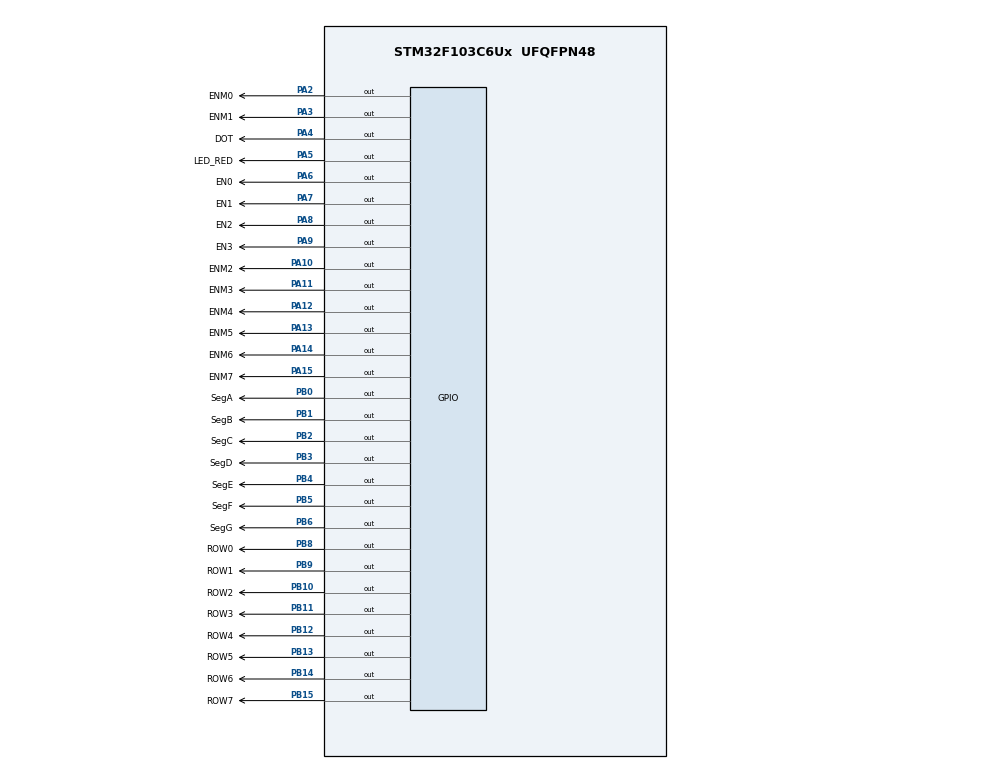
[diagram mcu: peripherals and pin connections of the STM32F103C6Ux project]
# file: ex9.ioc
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Mcu.Family=STM32F1
Mcu.Name=STM32F103C6Ux
Mcu.Package=UFQFPN48
NVIC.PriorityGroup=NVIC_PRIORITYGROUP_4
NVIC.TIM2_IRQn=true\:0\:0\:false\:false\:true\:true\:true
PA10.GPIO_Label=ENM2
PA10.Signal=GPIO_Output
PA11.GPIO_Label=ENM3
PA11.Signal=GPIO_Output
PA12.GPIO_Label=ENM4
PA12.Signal=GPIO_Output
PA13.GPIO_Label=ENM5
PA13.Signal=GPIO_Output
PA14.GPIO_Label=ENM6
PA14.Signal=GPIO_Output
PA15.GPIO_Label=ENM7
PA15.Signal=GPIO_Output
PA2.GPIO_Label=ENM0
PA2.Signal=GPIO_Output
PA3.GPIO_Label=ENM1
PA3.Signal=GPIO_Output
PA4.GPIO_Label=DOT
PA4.Signal=GPIO_Output
PA5.GPIO_Label=LED_RED
PA5.Signal=GPIO_Output
PA6.GPIO_Label=EN0
PA6.Signal=GPIO_Output
PA7.GPIO_Label=EN1
PA7.Signal=GPIO_Output
PA8.GPIO_Label=EN2
PA8.Signal=GPIO_Output
PA9.GPIO_Label=EN3
PA9.Signal=GPIO_Output
PB0.GPIO_Label=SegA
PB0.Signal=GPIO_Output
PB1.GPIO_Label=SegB
PB1.Signal=GPIO_Output
PB10.GPIO_Label=ROW2
PB10.Signal=GPIO_Output
PB11.GPIO_Label=ROW3
PB11.Signal=GPIO_Output
PB12.GPIO_Label=ROW4
PB12.Signal=GPIO_Output
PB13.GPIO_Label=ROW5
PB13.Signal=GPIO_Output
PB14.GPIO_Label=ROW6
PB14.Signal=GPIO_Output
PB15.GPIO_Label=ROW7
PB15.Signal=GPIO_Output
PB2.GPIO_Label=SegC
PB2.Signal=GPIO_Output
PB3.GPIO_Label=SegD
PB3.Signal=GPIO_Output
PB4.GPIO_Label=SegE
PB4.Signal=GPIO_Output
PB5.GPIO_Label=SegF
PB5.Signal=GPIO_Output
PB6.GPIO_Label=SegG
PB6.Signal=GPIO_Output
PB8.GPIO_Label=ROW0
PB8.Signal=GPIO_Output
PB9.GPIO_Label=ROW1
PB9.Signal=GPIO_Output
ProjectManager.HeapSize=0x200
ProjectManager.StackSize=0x400
ProjectManager.TargetToolchain=STM32CubeIDE
RCC.APB1Freq_Value=8000000
RCC.APB2Freq_Value=8000000
TIM2.Period=9
TIM2.Prescaler=7999
VP_SYS_VS_ND.Mode=No_Debug
VP_TIM2_VS_ClockSourceINT.Mode=Internal
board=custom

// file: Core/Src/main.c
/* USER CODE BEGIN Header */
/**
  ******************************************************************************
  * @file           : main.c
  * @brief          : Main program body
  ******************************************************************************
  * @attention
  *
  * <h2><center>&copy; Copyright (c) 2023 STMicroelectronics.
  * All rights reserved.</center></h2>
  *
  * This software component is licensed by ST under BSD 3-Clause license,
  * the "License"; You may not use this file except in compliance with the
  * License. You may obtain a copy of the License at:
  *                        opensource.org/licenses/BSD-3-Clause
  *
  ******************************************************************************
  */
/* USER CODE END Header */
#include "main.h"

/* USER CODE BEGIN Includes */
#include "sofware_timer.h"
#include "myLib.h"
/* USER CODE END Includes */

TIM_HandleTypeDef htim2;

void SystemClock_Config(void);
static void MX_GPIO_Init(void);
static void MX_TIM2_Init(void);

int main(void)
{

  /* MCU Configuration--------------------------------------------------------*/

  /* Reset of all peripherals, Initializes the Flash interface and the Systick. */
  HAL_Init();

  /* Configure the system clock */
  SystemClock_Config();

  /* Initialize all configured peripherals */
  MX_GPIO_Init();
  MX_TIM2_Init();
  /* USER CODE BEGIN 2 */
  void clear() {
	  HAL_GPIO_WritePin(GPIOB, ROW0_Pin, SET);
	  HAL_GPIO_WritePin(GPIOB, ROW1_Pin, SET);
	  HAL_GPIO_WritePin(GPIOB, ROW2_Pin, SET);
	  HAL_GPIO_WritePin(GPIOB, ROW3_Pin, SET);
	  HAL_GPIO_WritePin(GPIOB, ROW4_Pin, SET);
	  HAL_GPIO_WritePin(GPIOB, ROW5_Pin, SET);
	  HAL_GPIO_WritePin(GPIOB, ROW6_Pin, SET);
	  HAL_GPIO_WritePin(GPIOB, ROW7_Pin, SET);

	  HAL_GPIO_WritePin(GPIOA, ENM0_Pin, SET);
	  HAL_GPIO_WritePin(GPIOA, ENM1_Pin, SET);
	  HAL_GPIO_WritePin(GPIOA, ENM2_Pin, SET);
	  HAL_GPIO_WritePin(GPIOA, ENM3_Pin, SET);
	  HAL_GPIO_WritePin(GPIOA, ENM4_Pin, SET);
	  HAL_GPIO_WritePin(GPIOA, ENM5_Pin, SET);
	  HAL_GPIO_WritePin(GPIOA, ENM6_Pin, SET);
	  HAL_GPIO_WritePin(GPIOA, ENM7_Pin, SET);
  }
  HAL_TIM_Base_Start_IT(&htim2);
  void enState(uint8_t enIndex) {
  	HAL_GPIO_WritePin(GPIOA, GPIO_PIN_(6), SET);
  	HAL_GPIO_WritePin(GPIOA, GPIO_PIN_(7), SET);
  	HAL_GPIO_WritePin(GPIOA, GPIO_PIN_(8), SET);
  	HAL_GPIO_WritePin(GPIOA, GPIO_PIN_(9), SET);
  	HAL_GPIO_WritePin(GPIOA, GPIO_PIN_(enIndex + 6), RESET);
  }
  const uint8_t MAX_LED = 4;
  uint8_t index_led = 0;
  uint8_t led_buffer[4] = {1, 2, 3, 4};

  const int MAX_LED_MATRIX = 8;
  uint8_t index_led_matrix = 0;
  uint8_t matrix_buffer[8] = {0x18, 0x24, 0x42, 0x42, 0x7E, 0x42, 0x42, 0x42};

  void update7SEG(int index){
	  enState(index);
      display7SEG1(led_buffer[index]);
  }

  uint8_t hour = 15 , minute = 8 , second = 50;
//  #define SCANROW_(i)_(num)
  void updateClockBuffer() {
	  led_buffer[0] = hour / 10;
	  led_buffer[1] = hour % 10;
	  led_buffer[2] = minute / 10;
	  led_buffer[3] = minute % 10;
}
  void scanRow() {
	  for (int i = 0; i < MAX_LED_MATRIX; i++) {
		  if ((matrix_buffer[i] >> (7 - index_led_matrix + 1)) & 1)
			  HAL_GPIO_WritePin(GPIOB, GPIO_PIN_(i + 8), RESET);
//		  if ((matrix_buffer[i] >> 6) & 1)
//			  HAL_GPIO_WritePin(GPIOB, ROW1_Pin, RESET);
//		  if ((matrix_buffer[i] >> 5) & 1)
//			  HAL_GPIO_WritePin(GPIOB, ROW2_Pin, RESET);
//		  if ((matrix_buffer[i] >> 4) & 1)
//			  HAL_GPIO_WritePin(GPIOB, ROW3_Pin, RESET);
//		  if ((matrix_buffer[i] >> 3) & 1)
//			  HAL_GPIO_WritePin(GPIOB, ROW4_Pin, RESET);
//		  if ((matrix_buffer[i] >> 2) & 1)
//			  HAL_GPIO_WritePin(GPIOB, ROW5_Pin, RESET);
//		  if ((matrix_buffer[i] >> 1) & 1)
//			  HAL_GPIO_WritePin(GPIOB, ROW6_Pin, RESET);
//		  if ((matrix_buffer[i] >> 0) & 1)
//			  HAL_GPIO_WritePin(GPIOB, ROW7_Pin, RESET);
	  }
  }
  void updateLEDMatrix(int index){
	  clear();
	  if (index == 0)
		  HAL_GPIO_WritePin(GPIOA, ENM0_Pin, RESET);
	  else if (index == 1)
		  HAL_GPIO_WritePin(GPIOA, ENM1_Pin, RESET);
	  else if (index >= 2)
		  HAL_GPIO_WritePin(GPIOA, GPIO_PIN_(index + 8), RESET);
	  scanRow();
  }

  setTimer(0, 100); //0: red led; 1: 4 7-seg leds; 2: 2 middle led; 3: time counter; 4: matrix led
  setTimer(1, 10);
  setTimer(2, 100);
  setTimer(3, 100);
  setTimer(4, 10);
  /* USER CODE END 2 */

  /* Infinite loop */
  /* USER CODE BEGIN WHILE */
  while (1)
  {
	  if (timerFlag[0] == 1) {
		  setTimer(0, 100);
		  HAL_GPIO_TogglePin(GPIOA, LED_RED_Pin);
	  }
	  if (timerFlag[1] == 1) {
		  setTimer(1, 10);
		  update7SEG(index_led++);
		  if (index_led >= MAX_LED)
			  index_led = 0;
	  }
	  if (timerFlag[2] == 1) {
		  setTimer(2, 100);
		  HAL_GPIO_TogglePin(GPIOA, DOT_Pin);
	  }
	  if (timerFlag[3] == 1) {
		  setTimer(3, 100);
		  second++;
		  if (second >= 60){
		      second = 0;
		      minute++;
		  }
		  if(minute >= 60){
		      minute = 0;
		      hour++;
		  }
		  if(hour >= 24){
		      hour = 0;
		  }
		  updateClockBuffer();
	  }
	  if (timerFlag[4] == 1) {
		  setTimer(4, 10);
		  updateLEDMatrix(index_led_matrix++);
		  if (index_led_matrix >= MAX_LED_MATRIX)
			  index_led_matrix = 0;
	  }
    /* USER CODE END WHILE */

  }
}

void SystemClock_Config(void)
{
  RCC_OscInitTypeDef RCC_OscInitStruct = {0};
  RCC_ClkInitTypeDef RCC_ClkInitStruct = {0};

  /** Initializes the RCC Oscillators according to the specified parameters
  * in the RCC_OscInitTypeDef structure.
  */
  RCC_OscInitStruct.OscillatorType = RCC_OSCILLATORTYPE_HSI;
  RCC_OscInitStruct.HSIState = RCC_HSI_ON;
  RCC_OscInitStruct.HSICalibrationValue = RCC_HSICALIBRATION_DEFAULT;
  RCC_OscInitStruct.PLL.PLLState = RCC_PLL_NONE;
  if (HAL_RCC_OscConfig(&RCC_OscInitStruct) != HAL_OK)
  {
    Error_Handler();
  }
  /** Initializes the CPU, AHB and APB buses clocks
  */
  RCC_ClkInitStruct.ClockType = RCC_CLOCKTYPE_HCLK|RCC_CLOCKTYPE_SYSCLK
                              |RCC_CLOCKTYPE_PCLK1|RCC_CLOCKTYPE_PCLK2;
  RCC_ClkInitStruct.SYSCLKSource = RCC_SYSCLKSOURCE_HSI;
  RCC_ClkInitStruct.AHBCLKDivider = RCC_SYSCLK_DIV1;
  RCC_ClkInitStruct.APB1CLKDivider = RCC_HCLK_DIV1;
  RCC_ClkInitStruct.APB2CLKDivider = RCC_HCLK_DIV1;

  if (HAL_RCC_ClockConfig(&RCC_ClkInitStruct, FLASH_LATENCY_0) != HAL_OK)
  {
    Error_Handler();
  }
}

static void MX_TIM2_Init(void)
{

  TIM_ClockConfigTypeDef sClockSourceConfig = {0};
  TIM_MasterConfigTypeDef sMasterConfig = {0};

  htim2.Instance = TIM2;
  htim2.Init.Prescaler = 7999;
  htim2.Init.CounterMode = TIM_COUNTERMODE_UP;
  htim2.Init.Period = 9;
  htim2.Init.ClockDivision = TIM_CLOCKDIVISION_DIV1;
  htim2.Init.AutoReloadPreload = TIM_AUTORELOAD_PRELOAD_DISABLE;
  if (HAL_TIM_Base_Init(&htim2) != HAL_OK)
  {
    Error_Handler();
  }
  sClockSourceConfig.ClockSource = TIM_CLOCKSOURCE_INTERNAL;
  if (HAL_TIM_ConfigClockSource(&htim2, &sClockSourceConfig) != HAL_OK)
  {
    Error_Handler();
  }
  sMasterConfig.MasterOutputTrigger = TIM_TRGO_RESET;
  sMasterConfig.MasterSlaveMode = TIM_MASTERSLAVEMODE_DISABLE;
  if (HAL_TIMEx_MasterConfigSynchronization(&htim2, &sMasterConfig) != HAL_OK)
  {
    Error_Handler();
  }

}

static void MX_GPIO_Init(void)
{
  GPIO_InitTypeDef GPIO_InitStruct = {0};

  /* GPIO Ports Clock Enable */
  __HAL_RCC_GPIOA_CLK_ENABLE();
  __HAL_RCC_GPIOB_CLK_ENABLE();

  /*Configure GPIO pin Output Level */
  HAL_GPIO_WritePin(GPIOA, ENM0_Pin|ENM1_Pin|DOT_Pin|LED_RED_Pin
                          |EN0_Pin|EN1_Pin|EN2_Pin|EN3_Pin
                          |ENM2_Pin|ENM3_Pin|ENM4_Pin|ENM5_Pin
                          |ENM6_Pin|ENM7_Pin, GPIO_PIN_RESET);

  /*Configure GPIO pin Output Level */
  HAL_GPIO_WritePin(GPIOB, SegA_Pin|SegB_Pin|SegC_Pin|ROW2_Pin
                          |ROW3_Pin|ROW4_Pin|ROW5_Pin|ROW6_Pin
                          |ROW7_Pin|SegD_Pin|SegE_Pin|SegF_Pin
                          |SegG_Pin|ROW0_Pin|ROW1_Pin, GPIO_PIN_RESET);

  /*Configure GPIO pins : ENM0_Pin ENM1_Pin DOT_Pin LED_RED_Pin
                           EN0_Pin EN1_Pin EN2_Pin EN3_Pin
                           ENM2_Pin ENM3_Pin ENM4_Pin ENM5_Pin
                           ENM6_Pin ENM7_Pin */
  GPIO_InitStruct.Pin = ENM0_Pin|ENM1_Pin|DOT_Pin|LED_RED_Pin
                          |EN0_Pin|EN1_Pin|EN2_Pin|EN3_Pin
                          |ENM2_Pin|ENM3_Pin|ENM4_Pin|ENM5_Pin
                          |ENM6_Pin|ENM7_Pin;
  GPIO_InitStruct.Mode = GPIO_MODE_OUTPUT_PP;
  GPIO_InitStruct.Pull = GPIO_NOPULL;
  GPIO_InitStruct.Speed = GPIO_SPEED_FREQ_LOW;
  HAL_GPIO_Init(GPIOA, &GPIO_InitStruct);

  /*Configure GPIO pins : SegA_Pin SegB_Pin SegC_Pin ROW2_Pin
                           ROW3_Pin ROW4_Pin ROW5_Pin ROW6_Pin
                           ROW7_Pin SegD_Pin SegE_Pin SegF_Pin
                           SegG_Pin ROW0_Pin ROW1_Pin */
  GPIO_InitStruct.Pin = SegA_Pin|SegB_Pin|SegC_Pin|ROW2_Pin
                          |ROW3_Pin|ROW4_Pin|ROW5_Pin|ROW6_Pin
                          |ROW7_Pin|SegD_Pin|SegE_Pin|SegF_Pin
                          |SegG_Pin|ROW0_Pin|ROW1_Pin;
  GPIO_InitStruct.Mode = GPIO_MODE_OUTPUT_PP;
  GPIO_InitStruct.Pull = GPIO_NOPULL;
  GPIO_InitStruct.Speed = GPIO_SPEED_FREQ_LOW;
  HAL_GPIO_Init(GPIOB, &GPIO_InitStruct);

}

/* USER CODE BEGIN 4 */
void HAL_TIM_PeriodElapsedCallback(TIM_HandleTypeDef *htim) {
	timerRun(0);
	timerRun(1);
	timerRun(2);
	timerRun(3);
	timerRun(4);
}
/* USER CODE END 4 */

void Error_Handler(void)
{
  __disable_irq();
  while (1)
  {
  }
}

/************************ (C) COPYRIGHT STMicroelectronics *****END OF FILE****/
